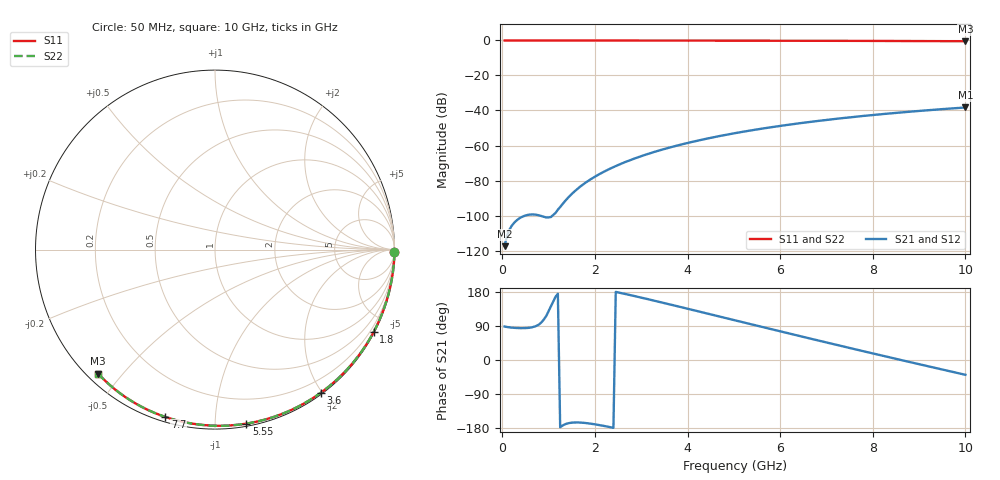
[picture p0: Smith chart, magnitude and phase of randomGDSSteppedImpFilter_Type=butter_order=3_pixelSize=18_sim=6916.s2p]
! freq	dB(S11)	phase(S11)	dB(S12)	phase(S12)
!  dB(S21)	phase(S21)	dB(S22)	phase(S22)
!S-par simulation data
#  GHz  S  DB  R 50
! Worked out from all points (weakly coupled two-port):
!   200 points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, 50 MHz to 10 GHz, reference 50 ohm
!   highest |S21| = -38.28 dB at 10 GHz (marker M1); lowest = -117.5 dB at 50 MHz (marker M2)
!   lowest |S11| = -0.4 dB at 10 GHz (marker M3), VSWR 38.79, Z = 1.53 - j21.6 ohm
!   |S11| at or under -10 dB: nowhere
!   |S22| runs from -0.4 to 0.0 dB; largest |S21 - S12| = 0
!   S11 on the Smith chart (normalised r, x): 50 MHz: open; 1.8 GHz: 0.04, -4.11; 3.6 GHz: 0.02, -1.99; 5.55 GHz: 0.02, -1.20; 7.7 GHz: 0.02, -0.75; 10 GHz: 0.03, -0.43
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0.05  -0.00 -0.8  -117.48 88.4  -117.48 88.4  -0.00 -0.8
0.9  -0.02 -13.8  -100.76 107.5  -100.76 107.5  -0.02 -13.8
1.75  -0.03 -26.6  -82.13 -165.7  -82.13 -165.7  -0.03 -26.6
1.8  -0.03 -27.3  -81.19 -166.3  -81.19 -166.3  -0.03 -27.3
1.85  -0.04 -28.1  -80.29 -167.1  -80.29 -167.1  -0.04 -28.1
1.9  -0.04 -28.8  -79.42 -167.9  -79.42 -167.9  -0.04 -28.8
2.05  -0.04 -31.0  -77.03 -170.8  -77.03 -170.8  -0.04 -31.0
2.25  -0.04 -34.0  -74.21 -175.3  -74.21 -175.3  -0.04 -34.0
2.45  -0.05 -36.9  -71.72 179.7  -71.72 179.7  -0.05 -36.9
2.65  -0.05 -39.9  -69.49 174.4  -69.49 174.4  -0.05 -39.9
3  -0.06 -44.9  -66.07 164.6  -66.07 164.6  -0.06 -44.9
3.4  -0.07 -50.6  -62.73 153.1  -62.73 153.1  -0.07 -50.6
3.6  -0.07 -53.4  -61.24 147.2  -61.24 147.2  -0.07 -53.4
4.3  -0.09 -63.1  -56.73 126.4  -56.73 126.4  -0.09 -63.1
5.05  -0.11 -73.2  -52.82 104.0  -52.82 104.0  -0.11 -73.2
5.55  -0.13 -79.8  -50.59 89.1  -50.59 89.1  -0.13 -79.8
6.1  -0.15 -86.8  -48.43 72.7  -48.43 72.7  -0.15 -86.8
6.7  -0.18 -94.4  -46.34 55.0  -46.34 55.0  -0.18 -94.4
7.7  -0.24 -106.5  -43.37 26.0  -43.37 26.0  -0.24 -106.5
8.35  -0.29 -114.2  -41.72 7.3  -41.72 7.3  -0.29 -114.2
9.15  -0.36 -123.5  -39.93 -15.3  -39.93 -15.3  -0.36 -123.5
10  -0.45 -133.3  -38.28 -39.1  -38.28 -39.1  -0.45 -133.3
